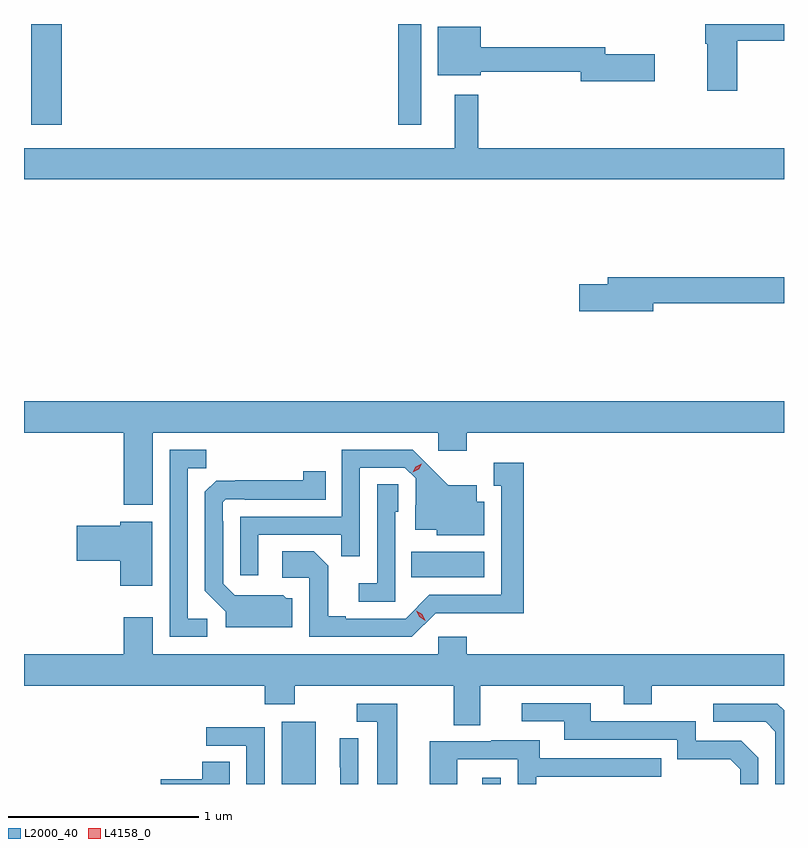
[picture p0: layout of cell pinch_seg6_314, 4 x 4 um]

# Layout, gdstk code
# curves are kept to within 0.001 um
import gdstk
lib = gdstk.Library(unit=1e-6, precision=1e-09)
def R(c, l, rs):  # rectangles x0, y0, x1, y1
    for r in rs: c.add(gdstk.rectangle(r[:2], r[2:], *l))
def P(c, l, *ps):  # polygons
    for p in ps: c.add(gdstk.Polygon(p, *l))
L2000_40 = (2000, 40)
L4158_0 = (4158, 0)

pinch_seg6_314 = lib.new_cell('pinch_seg6_314')
R(pinch_seg6_314, L2000_40, [(637.961,965.466,638.14,965.794), (639.017,965.466,639.114,965.5), (638.644,966.554,639.028,966.688), (636.644,968.937,636.803,969.466), (638.574,968.937,638.695,969.466)])
P(pinch_seg6_314, L2000_40, [(640.36,969.379),(640.605,969.379),(640.605,969.466),(640.19,969.466),(640.19,969.362),(640.202,969.362),(640.202,969.114),(640.36,969.114)],
  [(639.925,969.308),(639.664,969.308),(639.664,969.344),(639.01,969.344),(639.01,969.451),(638.783,969.451),(638.783,969.197),(639.01,969.197),(639.01,969.216),(639.536,969.216),(639.536,969.166),(639.925,969.166)],
  [(640.605,968.812),(638.995,968.812),(638.995,969.094),(638.873,969.094),(638.873,968.812),(636.605,968.812),(636.605,968.648),(640.605,968.648)],
  [(639.916,967.996),(640.605,967.996),(640.605,968.132),(639.677,968.132),(639.677,968.096),(639.528,968.096),(639.528,967.954),(639.916,967.954)],
  [(637.282,967.316),(638.784,967.316),(638.784,967.221),(638.936,967.221),(638.936,967.316),(640.605,967.316),(640.605,967.48),(636.605,967.48),(636.605,967.316),(637.13,967.316),(637.13,966.936),(637.282,966.936)],
  [(637.57,966.336),(637.467,966.336),(637.467,967.129),(637.563,967.129),(637.563,967.224),(637.371,967.224),(637.371,966.24),(637.57,966.24)],
  [(637.839,966.777),(638.275,966.777),(638.275,966.664),(638.373,966.664),(638.373,967.131),(638.61,967.131),(638.667,967.074),(638.667,966.932),(638.663,966.932),(638.663,966.803),(638.778,966.803),(638.778,966.776),(639.028,966.776),(639.028,966.952),(638.989,966.952),(638.989,967.039),(638.837,967.039),(638.65,967.224),(638.277,967.224),(638.277,966.873),(637.743,966.873),(637.743,966.564),(637.839,966.564)],
  [(638.772,966.366),(639.235,966.365),(639.235,967.156),(639.077,967.156),(639.077,967.035),(639.116,967.035),(639.116,966.462),(638.739,966.462),(638.613,966.336),(638.299,966.336),(638.299,966.349),(638.205,966.349),(638.205,966.616),(638.129,966.692),(637.965,966.692),(637.965,966.552),(638.106,966.552),(638.106,966.24),(638.646,966.24)],
  [(638.017,966.444),(637.986,966.444),(637.97,966.46),(637.713,966.459),(637.653,966.519),(637.653,966.848),(637.65,966.848),(637.65,966.948),(637.668,966.966),(637.768,966.966),(637.768,966.963),(638.192,966.963),(638.192,967.111),(638.074,967.111),(638.074,967.064),(637.616,967.063),(637.557,967.004),(637.557,966.482),(637.667,966.372),(637.667,966.29),(638.017,966.29)],
  [(638.559,966.9),(638.574,966.9),(638.574,967.043),(638.463,967.043),(638.463,966.523),(638.367,966.523),(638.367,966.426),(638.559,966.426)],
  [(637.279,966.847),(637.112,966.847),(637.112,966.824),(636.882,966.824),(636.882,966.641),(637.112,966.641),(637.112,966.51),(637.279,966.51)],
  [(639.007,965.984),(639.761,965.984),(639.761,965.885),(639.909,965.885),(639.909,965.984),(640.605,965.984),(640.605,966.148),(638.936,966.148),(638.936,966.241),(638.784,966.241),(638.784,966.148),(637.282,966.148),(637.282,966.343),(637.13,966.343),(637.13,966.148),(636.605,966.148),(636.605,965.984),(637.871,965.984),(637.871,965.885),(638.031,965.885),(638.031,965.984),(638.867,965.984),(638.867,965.776),(639.007,965.776)],
  [(640.47,965.604),(640.38,965.694),(640.14,965.694),(640.14,965.796),(639.589,965.796),(639.589,965.892),(639.225,965.892),(639.225,965.796),(639.449,965.796),(639.449,965.7),(640.044,965.7),(640.044,965.597),(640.321,965.597),(640.374,965.544),(640.374,965.466),(640.47,965.466)],
  [(640.605,965.853),(640.569,965.889),(640.233,965.889),(640.233,965.793),(640.509,965.793),(640.56,965.742),(640.56,965.466),(640.605,965.466)],
  [(638.569,965.889),(638.355,965.889),(638.355,965.793),(638.465,965.793),(638.465,965.466),(638.569,965.466)],
  [(637.872,965.766),(637.563,965.766),(637.563,965.667),(637.776,965.667),(637.776,965.466),(637.872,965.466)],
  [(638.364,965.708),(638.268,965.708),(638.268,965.554),(638.27,965.554),(638.27,965.466),(638.364,965.466)],
  [(638.886,965.595),(639.204,965.595),(639.204,965.466),(639.3,965.466),(639.3,965.505),(639.959,965.505),(639.959,965.601),(639.319,965.601),(639.319,965.695),(639.065,965.695),(639.065,965.691),(638.741,965.691),(638.741,965.466),(638.886,965.466)],
  [(637.687,965.582),(637.544,965.582),(637.544,965.492),(637.326,965.492),(637.326,965.466),(637.687,965.466)])
P(pinch_seg6_314, L4158_0, [(638.717,966.326),(638.686,966.345),(638.669,966.378),(638.669,966.378),(638.669,966.378),(638.7,966.359),(638.717,966.326),(638.717,966.326)],
  [(638.651,967.107),(638.651,967.107),(638.668,967.137),(638.698,967.152),(638.698,967.152),(638.698,967.152),(638.682,967.122),(638.651,967.107)])

lib.write_gds('pinch_seg6_314.gds')
